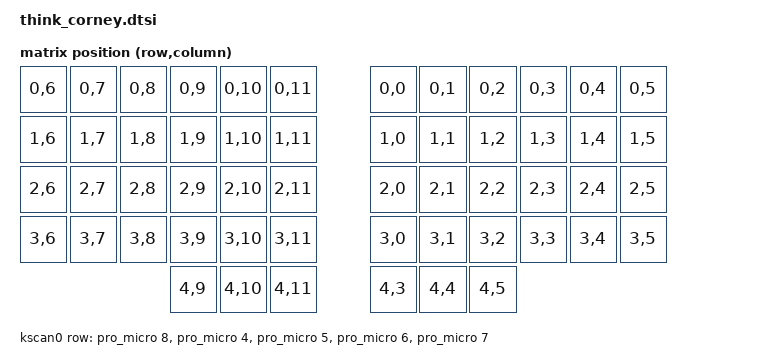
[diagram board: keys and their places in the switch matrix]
/*
 * ThinkCorney (nice!nano) - generated from Ergogen config
 */

#include <dt-bindings/zmk/matrix_transform.h>

/ {
    chosen {
        zmk,physical-layout = &think_corney_layout;
    };

    think_corney_layout: physical_layout_0 {
        compatible = "zmk,physical-layout";
        display-name = "ThinkCorney";
        kscan = <&kscan0>;
        transform = <&default_transform>;
    };

    default_transform: keymap_transform_0 {
        compatible = "zmk,matrix-transform";
        columns = <12>;
        rows = <5>;
        /*
         * Physical matrix: 5 rows x 6 cols per half.
         * Left half uses cols 0-5, right half uses cols 6-11 (col-offset=6).
         * Thumbs are on row 4, cols 3-5 on each half.
         *
         * Logical key positions count: 54 (24 + 3 thumbs per half).
         */
                map = <
            /* Row 0 (top) */
            RC(0,6)  RC(0,7)  RC(0,8)  RC(0,9)  RC(0,10) RC(0,11)  RC(0,0)  RC(0,1)  RC(0,2)  RC(0,3)  RC(0,4)  RC(0,5)
            /* Row 1 */
            RC(1,6)  RC(1,7)  RC(1,8)  RC(1,9)  RC(1,10) RC(1,11)  RC(1,0)  RC(1,1)  RC(1,2)  RC(1,3)  RC(1,4)  RC(1,5)
            /* Row 2 */
            RC(2,6)  RC(2,7)  RC(2,8)  RC(2,9)  RC(2,10) RC(2,11)  RC(2,0)  RC(2,1)  RC(2,2)  RC(2,3)  RC(2,4)  RC(2,5)
            /* Row 3 (bottom alpha) */
            RC(3,6)  RC(3,7)  RC(3,8)  RC(3,9)  RC(3,10) RC(3,11)  RC(3,0)  RC(3,1)  RC(3,2)  RC(3,3)  RC(3,4)  RC(3,5)
            /* Row 4 (thumbs: left C3..C5 -> cols 9..11, right C3..C5 -> cols 3..5) */
            RC(4,9)  RC(4,10) RC(4,11) RC(4,3)  RC(4,4)  RC(4,5)
        >;
    };


    kscan0: kscan {
        compatible = "zmk,kscan-gpio-matrix";
        wakeup-source;
        diode-direction = "col2row";

        /* Rows: R0..R4 = P8, P4, P5, P6, P7 */
        row-gpios = <&pro_micro 8 (GPIO_ACTIVE_HIGH | GPIO_PULL_DOWN)>,
                    <&pro_micro 4 (GPIO_ACTIVE_HIGH | GPIO_PULL_DOWN)>,
                    <&pro_micro 5 (GPIO_ACTIVE_HIGH | GPIO_PULL_DOWN)>,
                    <&pro_micro 6 (GPIO_ACTIVE_HIGH | GPIO_PULL_DOWN)>,
                    <&pro_micro 7 (GPIO_ACTIVE_HIGH | GPIO_PULL_DOWN)>;
        /* Cols are set per-half in *_left.overlay and *_right.overlay */
    };
};
